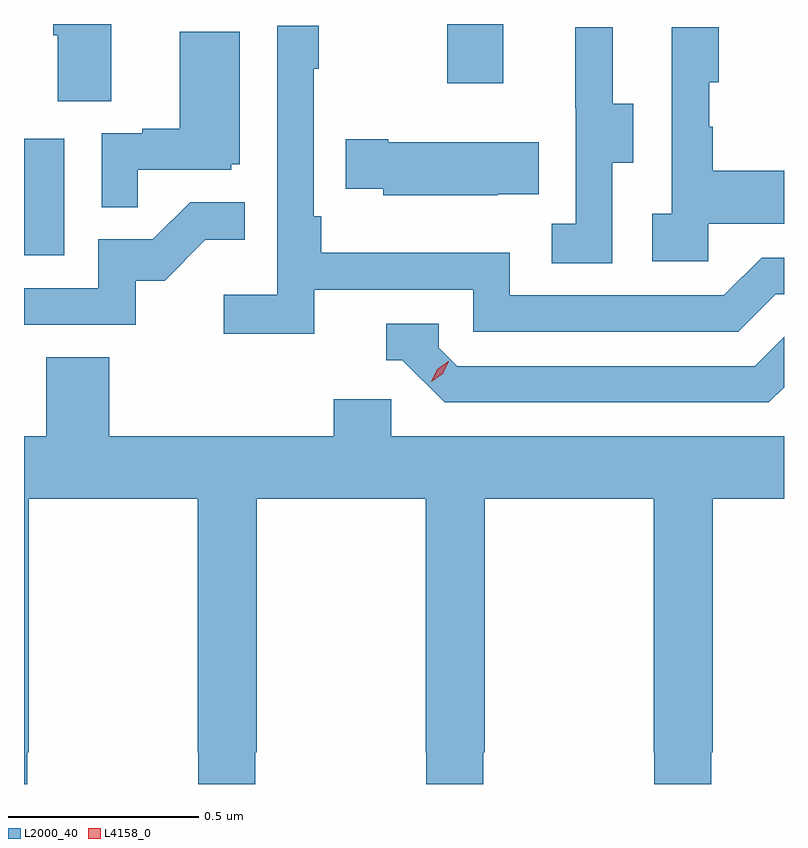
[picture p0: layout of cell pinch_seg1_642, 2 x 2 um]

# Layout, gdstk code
import gdstk
lib = gdstk.Library(unit=1e-6, precision=1e-09)
def R(c, l, rs):  # rectangles x0, y0, x1, y1
    for r in rs: c.add(gdstk.rectangle(r[:2], r[2:], *l))
def P(c, l, *ps):  # polygons
    for p in ps: c.add(gdstk.Polygon(p, *l))
L2000_40 = (2000, 40)
L4158_0 = (4158, 0)

pinch_seg1_642 = lib.new_cell('pinch_seg1_642')
R(pinch_seg1_642, L2000_40, [(1103.994,504.42,1104.1,504.727), (1105.108,504.873,1105.255,505.029)])
P(pinch_seg1_642, L2000_40, [(1104.223,505.029),(1104.071,505.029),(1104.071,505),(1104.083,505),(1104.083,504.826),(1104.223,504.826)],
  [(1104.758,504.33),(1105.176,504.33),(1105.176,504.219),(1105.873,504.219),(1105.972,504.318),(1105.994,504.318),(1105.994,504.414),(1105.935,504.414),(1105.836,504.315),(1105.272,504.315),(1105.272,504.427),(1104.776,504.427),(1104.776,504.523),(1104.756,504.523),(1104.756,504.911),(1104.769,504.911),(1104.769,505.024),(1104.66,505.024),(1104.66,504.316),(1104.519,504.316),(1104.519,504.214),(1104.758,504.214)],
  [(1105.794,504.503),(1105.994,504.503),(1105.994,504.643),(1105.807,504.643),(1105.807,504.758),(1105.797,504.758),(1105.797,504.876),(1105.822,504.876),(1105.822,505.021),(1105.698,505.021),(1105.698,504.53),(1105.647,504.53),(1105.647,504.405),(1105.794,504.405)],
  [(1105.542,504.664),(1105.597,504.664),(1105.597,504.819),(1105.543,504.819),(1105.543,505.021),(1105.445,505.021),(1105.445,504.807),(1105.446,504.807),(1105.446,504.503),(1105.383,504.503),(1105.383,504.4),(1105.542,504.4)],
  [(1104.293,504.645),(1104.54,504.645),(1104.54,504.66),(1104.562,504.66),(1104.562,505.009),(1104.404,505.009),(1104.404,504.754),(1104.305,504.754),(1104.305,504.741),(1104.198,504.741),(1104.198,504.547),(1104.293,504.547)],
  [(1105.241,504.581),(1105.349,504.581),(1105.349,504.718),(1104.952,504.718),(1104.952,504.726),(1104.841,504.726),(1104.841,504.596),(1104.939,504.596),(1104.939,504.578),(1105.241,504.578)],
  [(1104.288,504.354),(1104.364,504.354),(1104.471,504.461),(1104.575,504.461),(1104.575,504.56),(1104.431,504.56),(1104.333,504.462),(1104.189,504.462),(1104.189,504.333),(1103.994,504.333),(1103.994,504.237),(1104.288,504.237)],
  [(1105.994,504.073),(1105.994,504.206),(1105.917,504.129),(1105.134,504.129),(1105.086,504.177),(1105.086,504.24),(1104.947,504.24),(1104.947,504.144),(1104.99,504.144),(1105.101,504.033),(1105.954,504.033)],
  [(1104.003,503.113),(1104.006,503.113),(1104.006,503.78),(1104.451,503.78),(1104.451,503.113),(1104.453,503.113),(1104.453,503.029),(1104.603,503.029),(1104.603,503.113),(1104.606,503.113),(1104.606,503.78),(1105.051,503.78),(1105.051,503.113),(1105.053,503.113),(1105.053,503.029),(1105.203,503.029),(1105.203,503.113),(1105.206,503.113),(1105.206,503.78),(1105.651,503.78),(1105.651,503.113),(1105.653,503.113),(1105.653,503.029),(1105.803,503.029),(1105.803,503.113),(1105.806,503.113),(1105.806,503.78),(1105.994,503.78),(1105.994,503.944),(1104.96,503.944),(1104.96,504.042),(1104.809,504.042),(1104.809,503.944),(1104.218,503.944),(1104.218,504.152),(1104.053,504.152),(1104.053,503.944),(1103.994,503.944),(1103.994,503.029),(1104.003,503.029)])
P(pinch_seg1_642, L4158_0, [(1105.066,504.088),(1105.066,504.089),(1105.081,504.121),(1105.111,504.141),(1105.112,504.141),(1105.112,504.141),(1105.096,504.108),(1105.066,504.088)])

lib.write_gds('pinch_seg1_642.gds')
